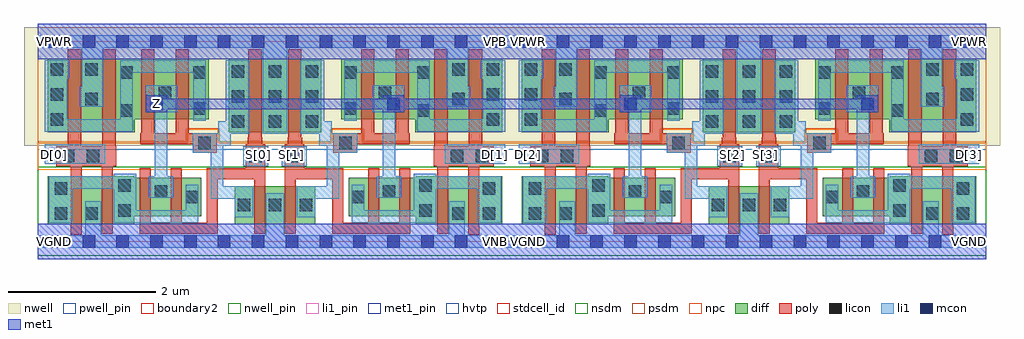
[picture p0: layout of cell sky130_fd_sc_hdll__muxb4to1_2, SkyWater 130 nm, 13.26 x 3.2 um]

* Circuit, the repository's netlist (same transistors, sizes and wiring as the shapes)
* Copyright 2020 The SkyWater PDK Authors
*
* Licensed under the Apache License, Version 2.0 (the "License");
* you may not use this file except in compliance with the License.
* You may obtain a copy of the License at
*
*     https://www.apache.org/licenses/LICENSE-2.0
*
* Unless required by applicable law or agreed to in writing, software
* distributed under the License is distributed on an "AS IS" BASIS,
* WITHOUT WARRANTIES OR CONDITIONS OF ANY KIND, either express or implied.
* See the License for the specific language governing permissions and
* limitations under the License.
*
* SPDX-License-Identifier: Apache-2.0

.SUBCKT sky130_fd_sc_hdll__muxb4to1_2 D[3] D[2] D[1] D[0] S[3] S[2] S[1] S[0] VGND VNB VPB VPWR Z
*.PININFO D[3]:I D[2]:I D[1]:I D[0]:I S[3]:I S[2]:I S[1]:I S[0]:I
*.PININFO VGND:I VNB:I VPB:I VPWR:I Z:O
MMNA00 Z S[0] net87 VNB sky130_fd_pr__nfet_01v8 m=2 w=0.52U l=0.15U mult=1 sa=0.265
+ sb=0.265 sd=0.28 area=0.063 perim=1.14
MMNA01 net87 D[0] VGND VNB sky130_fd_pr__nfet_01v8 m=2 w=0.65U l=0.15U mult=1 sa=0.265
+ sb=0.265 sd=0.28 area=0.063 perim=1.14
MMIN1 SB0 S[0] VGND VNB sky130_fd_pr__nfet_01v8 m=1 w=0.52U l=0.15U mult=1 sa=0.265
+ sb=0.265 sd=0.28 area=0.063 perim=1.14
MI30 Z S[2] net51 VNB sky130_fd_pr__nfet_01v8 m=2 w=0.52U l=0.15U mult=1 sa=0.265
+ sb=0.265 sd=0.28 area=0.063 perim=1.14
MI29 net51 D[2] VGND VNB sky130_fd_pr__nfet_01v8 m=2 w=0.65U l=0.15U mult=1 sa=0.265
+ sb=0.265 sd=0.28 area=0.063 perim=1.14
MI28 SB2 S[2] VGND VNB sky130_fd_pr__nfet_01v8 m=1 w=0.52U l=0.15U mult=1 sa=0.265
+ sb=0.265 sd=0.28 area=0.063 perim=1.14
MI27 SB3 S[3] VGND VNB sky130_fd_pr__nfet_01v8 m=1 w=0.52U l=0.15U mult=1 sa=0.265
+ sb=0.265 sd=0.28 area=0.063 perim=1.14
MI26 net63 D[3] VGND VNB sky130_fd_pr__nfet_01v8 m=2 w=0.65U l=0.15U mult=1 sa=0.265
+ sb=0.265 sd=0.28 area=0.063 perim=1.14
MI25 Z S[3] net63 VNB sky130_fd_pr__nfet_01v8 m=2 w=0.52U l=0.15U mult=1 sa=0.265
+ sb=0.265 sd=0.28 area=0.063 perim=1.14
MI13 Z S[1] net75 VNB sky130_fd_pr__nfet_01v8 m=2 w=0.52U l=0.15U mult=1 sa=0.265
+ sb=0.265 sd=0.28 area=0.063 perim=1.14
MI12 net75 D[1] VGND VNB sky130_fd_pr__nfet_01v8 m=2 w=0.65U l=0.15U mult=1 sa=0.265
+ sb=0.265 sd=0.28 area=0.063 perim=1.14
MI11 SB1 S[1] VGND VNB sky130_fd_pr__nfet_01v8 m=1 w=0.52U l=0.15U mult=1 sa=0.265
+ sb=0.265 sd=0.28 area=0.063 perim=1.14
MI35 net99 SB2 Z VPB sky130_fd_pr__pfet_01v8_hvt m=2 w=0.82U l=0.18U mult=1 sa=0.265
+ sb=0.265 sd=0.28 area=0.063 perim=1.14
MI34 SB2 S[2] VPWR VPB sky130_fd_pr__pfet_01v8_hvt m=1 w=1.0U l=0.18U mult=1 sa=0.265
+ sb=0.265 sd=0.28 area=0.063 perim=1.14
MMPA00 VPWR D[0] net135 VPB sky130_fd_pr__pfet_01v8_hvt m=2 w=1.0U l=0.18U mult=1
+ sa=0.265 sb=0.265 sd=0.28 area=0.063 perim=1.14
MMPA01 net135 SB0 Z VPB sky130_fd_pr__pfet_01v8_hvt m=2 w=0.82U l=0.18U mult=1
+ sa=0.265 sb=0.265 sd=0.28 area=0.063 perim=1.14
MI33 SB3 S[3] VPWR VPB sky130_fd_pr__pfet_01v8_hvt m=1 w=1.0U l=0.18U mult=1 sa=0.265
+ sb=0.265 sd=0.28 area=0.063 perim=1.14
MI32 net111 SB3 Z VPB sky130_fd_pr__pfet_01v8_hvt m=2 w=0.82U l=0.18U mult=1 sa=0.265
+ sb=0.265 sd=0.28 area=0.063 perim=1.14
MI31 VPWR D[3] net111 VPB sky130_fd_pr__pfet_01v8_hvt m=2 w=1.0U l=0.18U mult=1
+ sa=0.265 sb=0.265 sd=0.28 area=0.063 perim=1.14
MMIP1 SB0 S[0] VPWR VPB sky130_fd_pr__pfet_01v8_hvt m=1 w=1.0U l=0.18U mult=1 sa=0.265
+ sb=0.265 sd=0.28 area=0.063 perim=1.14
MI15 net123 SB1 Z VPB sky130_fd_pr__pfet_01v8_hvt m=2 w=0.82U l=0.18U mult=1 sa=0.265
+ sb=0.265 sd=0.28 area=0.063 perim=1.14
MI16 VPWR D[1] net123 VPB sky130_fd_pr__pfet_01v8_hvt m=2 w=1.0U l=0.18U mult=1
+ sa=0.265 sb=0.265 sd=0.28 area=0.063 perim=1.14
MI14 SB1 S[1] VPWR VPB sky130_fd_pr__pfet_01v8_hvt m=1 w=1.0U l=0.18U mult=1 sa=0.265
+ sb=0.265 sd=0.28 area=0.063 perim=1.14
MI36 VPWR D[2] net99 VPB sky130_fd_pr__pfet_01v8_hvt m=2 w=1.0U l=0.18U mult=1
+ sa=0.265 sb=0.265 sd=0.28 area=0.063 perim=1.14
.ENDS sky130_fd_sc_hdll__muxb4to1_2

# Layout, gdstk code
import gdstk
lib = gdstk.Library(unit=1e-6, precision=1e-09)
def R(c, l, rs):  # rectangles x0, y0, x1, y1
    for r in rs: c.add(gdstk.rectangle(r[:2], r[2:], *l))
def A(c, l, x, y, w, h, nx, ny, dx, dy):  # array of equal rectangles
    R(c, l, [(x+i*dx, y+j*dy, x+i*dx+w, y+j*dy+h) for i in range(nx) for j in range(ny)])
def P(c, l, *ps):  # polygons
    for p in ps: c.add(gdstk.Polygon(p, *l))
nwell_pin = (64, 16)
nwell = (64, 20)
diff = (65, 20)
poly = (66, 20)
licon = (66, 44)
li1_pin = (67, 16)
li1 = (67, 20)
mcon = (67, 44)
met1_pin = (68, 16)
met1 = (68, 20)
hvtp = (78, 44)
stdcell_id = (81, 4)
nsdm = (93, 44)
psdm = (94, 20)
npc = (95, 20)
pwell_pin = (122, 16)
boundary2 = (236, 0)

sky130_fd_sc_hdll__muxb4 = lib.new_cell('sky130_fd_sc_hdll__muxb4to1_2')
R(sky130_fd_sc_hdll__muxb4, nwell_pin, [(0.145,2.635,0.315,2.805), (0.145,2.635,0.315,2.805), (6.125,2.635,6.295,2.805), (6.585,2.635,6.755,2.805), (12.565,2.635,12.735,2.805)])
R(sky130_fd_sc_hdll__muxb4, nwell, [(-0.19,1.305,3.87,2.91), (2.57,1.305,6.63,2.91), (6.25,1.305,10.31,2.91), (9.01,1.305,13.07,2.91)])
R(sky130_fd_sc_hdll__muxb4, diff, [(2.675,0.235,3.345,0.755), (3.095,0.235,3.765,0.755), (9.115,0.235,9.785,0.755), (9.535,0.235,10.205,0.755), (2.59,1.485,3.345,2.485), (3.095,1.485,3.85,2.485), (9.03,1.485,9.785,2.485), (9.535,1.485,10.29,2.485)])
P(sky130_fd_sc_hdll__muxb4, diff, [(8.76,2.485),(6.575,2.485),(6.575,1.485),(7.755,1.485),(7.755,1.665),(8.76,1.665)],
  [(8.655,0.865),(7.75,0.865),(7.75,0.885),(6.575,0.885),(6.575,0.235),(7.75,0.235),(7.75,0.345),(8.655,0.345)],
  [(10.665,0.865),(11.57,0.865),(11.57,0.885),(12.745,0.885),(12.745,0.235),(11.57,0.235),(11.57,0.345),(10.665,0.345)],
  [(10.56,2.485),(12.745,2.485),(12.745,1.485),(11.565,1.485),(11.565,1.665),(10.56,1.665)],
  [(4.12,2.485),(6.305,2.485),(6.305,1.485),(5.125,1.485),(5.125,1.665),(4.12,1.665)],
  [(4.225,0.865),(5.13,0.865),(5.13,0.885),(6.305,0.885),(6.305,0.235),(5.13,0.235),(5.13,0.345),(4.225,0.345)],
  [(2.32,2.485),(0.135,2.485),(0.135,1.485),(1.315,1.485),(1.315,1.665),(2.32,1.665)],
  [(2.215,0.865),(1.31,0.865),(1.31,0.885),(0.135,0.885),(0.135,0.235),(1.31,0.235),(1.31,0.345),(2.215,0.345)])
R(sky130_fd_sc_hdll__muxb4, poly, [(1.385,0.105,1.535,0.995), (1.41,0.105,2.415,0.255), (1.805,0.105,1.955,0.995), (2.29,0.105,2.44,0.995), (2.935,0.105,3.085,0.995), (3.355,0.105,3.505,0.995), (4,0.105,4.15,0.995), (4.025,0.105,5.03,0.255), (4.485,0.105,4.635,0.995), (4.905,0.105,5.055,0.995), (7.825,0.105,7.975,0.995), (7.85,0.105,8.855,0.255), (8.245,0.105,8.395,0.995), (8.73,0.105,8.88,0.995), (9.375,0.105,9.525,0.995), (9.795,0.105,9.945,0.995), (10.44,0.105,10.59,0.995), (10.465,0.105,11.47,0.255), (10.925,0.105,11.075,0.995), (11.345,0.105,11.495,0.995), (2.425,0.845,2.96,0.995), (3.48,0.845,4.015,0.995), (8.865,0.845,9.4,0.995), (9.92,0.845,10.455,0.995), (2.82,0.995,3.09,1.325), (3.35,0.995,3.62,1.325), (9.26,0.995,9.53,1.325), (9.79,0.995,10.06,1.325), (2.1,1.205,2.43,1.475), (4.01,1.205,4.34,1.475), (8.54,1.205,8.87,1.475), (10.45,1.205,10.78,1.475), (1.39,1.325,2.2,1.475), (4.24,1.325,5.05,1.475), (7.83,1.325,8.64,1.475), (10.68,1.325,11.49,1.475)])
P(sky130_fd_sc_hdll__muxb4, poly, [(11.49,1.41),(11.48,1.41),(11.48,2.615),(11.3,2.615),(11.3,1.41),(11.29,1.41),(11.29,1.325),(11.49,1.325)],
  [(11.02,1.41),(11.01,1.41),(11.01,2.615),(10.83,2.615),(10.83,1.41),(10.82,1.41),(10.82,1.325),(11.02,1.325)],
  [(11.815,1.295),(11.825,1.295),(11.825,2.615),(12.005,2.615),(12.005,1.295),(12.295,1.295),(12.295,2.615),(12.475,2.615),(12.475,1.295),(12.635,1.295),(12.635,1.025),(12.435,1.025),(12.435,0.095),(12.285,0.095),(12.285,1.025),(12.015,1.025),(12.015,0.105),(11.865,0.105),(11.865,1.025),(11.815,1.025)],
  [(9.83,1.41),(9.84,1.41),(9.84,2.615),(10.02,2.615),(10.02,1.41),(10.03,1.41),(10.03,1.195),(9.83,1.195)],
  [(7.83,1.41),(7.84,1.41),(7.84,2.615),(8.02,2.615),(8.02,1.41),(8.03,1.41),(8.03,1.325),(7.83,1.325)],
  [(8.3,1.41),(8.31,1.41),(8.31,2.615),(8.49,2.615),(8.49,1.41),(8.5,1.41),(8.5,1.325),(8.3,1.325)],
  [(7.505,1.295),(7.495,1.295),(7.495,2.615),(7.315,2.615),(7.315,1.295),(7.025,1.295),(7.025,2.615),(6.845,2.615),(6.845,1.295),(6.685,1.295),(6.685,1.025),(6.885,1.025),(6.885,0.095),(7.035,0.095),(7.035,1.025),(7.305,1.025),(7.305,0.105),(7.455,0.105),(7.455,1.025),(7.505,1.025)],
  [(9.49,1.41),(9.48,1.41),(9.48,2.615),(9.3,2.615),(9.3,1.41),(9.29,1.41),(9.29,1.195),(9.49,1.195)],
  [(5.05,1.41),(5.04,1.41),(5.04,2.615),(4.86,2.615),(4.86,1.41),(4.85,1.41),(4.85,1.325),(5.05,1.325)],
  [(4.58,1.41),(4.57,1.41),(4.57,2.615),(4.39,2.615),(4.39,1.41),(4.38,1.41),(4.38,1.325),(4.58,1.325)],
  [(5.375,1.295),(5.385,1.295),(5.385,2.615),(5.565,2.615),(5.565,1.295),(5.855,1.295),(5.855,2.615),(6.035,2.615),(6.035,1.295),(6.195,1.295),(6.195,1.025),(5.995,1.025),(5.995,0.095),(5.845,0.095),(5.845,1.025),(5.575,1.025),(5.575,0.105),(5.425,0.105),(5.425,1.025),(5.375,1.025)],
  [(3.39,1.41),(3.4,1.41),(3.4,2.615),(3.58,2.615),(3.58,1.41),(3.59,1.41),(3.59,1.195),(3.39,1.195)],
  [(1.39,1.41),(1.4,1.41),(1.4,2.615),(1.58,2.615),(1.58,1.41),(1.59,1.41),(1.59,1.325),(1.39,1.325)],
  [(1.86,1.41),(1.87,1.41),(1.87,2.615),(2.05,2.615),(2.05,1.41),(2.06,1.41),(2.06,1.325),(1.86,1.325)],
  [(1.065,1.295),(1.055,1.295),(1.055,2.615),(0.875,2.615),(0.875,1.295),(0.585,1.295),(0.585,2.615),(0.405,2.615),(0.405,1.295),(0.245,1.295),(0.245,1.025),(0.445,1.025),(0.445,0.095),(0.595,0.095),(0.595,1.025),(0.865,1.025),(0.865,0.105),(1.015,0.105),(1.015,1.025),(1.065,1.025)],
  [(3.05,1.41),(3.04,1.41),(3.04,2.615),(2.86,2.615),(2.86,1.41),(2.85,1.41),(2.85,1.195),(3.05,1.195)])
A(sky130_fd_sc_hdll__muxb4, licon, 2.63, 1.545, 0.17, 0.17, 1, 3, 0, 0.34)
A(sky130_fd_sc_hdll__muxb4, licon, 3.64, 1.545, 0.17, 0.17, 1, 3, 0, 0.34)
A(sky130_fd_sc_hdll__muxb4, licon, 9.07, 1.545, 0.17, 0.17, 1, 3, 0, 0.34)
A(sky130_fd_sc_hdll__muxb4, licon, 10.08, 1.545, 0.17, 0.17, 1, 3, 0, 0.34)
A(sky130_fd_sc_hdll__muxb4, licon, 0.175, 1.575, 0.17, 0.17, 1, 3, 0, 0.34)
A(sky130_fd_sc_hdll__muxb4, licon, 6.095, 1.575, 0.17, 0.17, 1, 3, 0, 0.34)
A(sky130_fd_sc_hdll__muxb4, licon, 6.615, 1.575, 0.17, 0.17, 1, 3, 0, 0.34)
A(sky130_fd_sc_hdll__muxb4, licon, 12.535, 1.575, 0.17, 0.17, 1, 3, 0, 0.34)
R(sky130_fd_sc_hdll__muxb4, licon, [(0.225,0.295,0.395,0.465), (0.645,0.295,0.815,0.465), (5.625,0.295,5.795,0.465), (6.045,0.295,6.215,0.465), (6.665,0.295,6.835,0.465), (7.085,0.295,7.255,0.465), (12.065,0.295,12.235,0.465), (12.485,0.295,12.655,0.465), (1.09,0.335,1.26,0.505), (5.18,0.335,5.35,0.505), (7.53,0.335,7.7,0.505), (11.62,0.335,11.79,0.505), (2.715,0.41,2.885,0.58), (3.135,0.41,3.305,0.58), (3.135,0.41,3.305,0.58), (3.555,0.41,3.725,0.58), (9.155,0.41,9.325,0.58), (9.575,0.41,9.745,0.58), (9.575,0.41,9.745,0.58), (9.995,0.41,10.165,0.58), (2.005,0.52,2.175,0.69), (4.265,0.52,4.435,0.69), (8.445,0.52,8.615,0.69), (10.705,0.52,10.875,0.69), (1.585,0.595,1.755,0.765), (4.685,0.595,4.855,0.765), (8.025,0.595,8.195,0.765), (11.125,0.595,11.295,0.765), (0.225,0.635,0.395,0.805), (6.045,0.635,6.215,0.805), (6.665,0.635,6.835,0.805), (12.485,0.635,12.655,0.805), (1.09,0.675,1.26,0.845), (5.18,0.675,5.35,0.845), (7.53,0.675,7.7,0.845), (11.62,0.675,11.79,0.845), (0.325,1.075,0.495,1.245), (0.665,1.075,0.835,1.245), (2.87,1.075,3.04,1.245), (3.4,1.075,3.57,1.245), (5.605,1.075,5.775,1.245), (5.945,1.075,6.115,1.245), (6.765,1.075,6.935,1.245), (7.105,1.075,7.275,1.245), (9.31,1.075,9.48,1.245), (9.84,1.075,10.01,1.245), (12.045,1.075,12.215,1.245), (12.385,1.075,12.555,1.245), (2.18,1.255,2.35,1.425), (4.09,1.255,4.26,1.425), (8.62,1.255,8.79,1.425), (10.53,1.255,10.7,1.425), (3.135,1.545,3.305,1.715), (3.135,1.545,3.305,1.715), (9.575,1.545,9.745,1.715), (9.575,1.545,9.745,1.715), (1.115,1.695,1.285,1.865), (5.155,1.695,5.325,1.865), (7.555,1.695,7.725,1.865), (11.595,1.695,11.765,1.865), (2.11,1.725,2.28,1.895), (4.16,1.725,4.33,1.895), (8.55,1.725,8.72,1.895), (10.6,1.725,10.77,1.895), (0.645,1.855,0.815,2.025), (5.625,1.855,5.795,2.025), (7.085,1.855,7.255,2.025), (12.065,1.855,12.235,2.025), (3.135,1.885,3.305,2.055), (3.135,1.885,3.305,2.055), (9.575,1.885,9.745,2.055), (9.575,1.885,9.745,2.055), (1.64,1.935,1.81,2.105), (4.63,1.935,4.8,2.105), (8.08,1.935,8.25,2.105), (11.07,1.935,11.24,2.105), (1.115,2.215,1.285,2.385), (2.11,2.215,2.28,2.385), (4.16,2.215,4.33,2.385), (5.155,2.215,5.325,2.385), (7.555,2.215,7.725,2.385), (8.55,2.215,8.72,2.385), (10.6,2.215,10.77,2.385), (11.595,2.215,11.765,2.385), (3.135,2.225,3.305,2.395), (3.135,2.225,3.305,2.395), (9.575,2.225,9.745,2.395), (9.575,2.225,9.745,2.395), (0.645,2.255,0.815,2.425), (5.625,2.255,5.795,2.425), (7.085,2.255,7.255,2.425), (12.065,2.255,12.235,2.425)])
R(sky130_fd_sc_hdll__muxb4, li1_pin, [(0.145,1.105,0.315,1.275), (0.145,1.105,0.315,1.275), (2.905,1.105,3.075,1.275), (2.905,1.105,3.075,1.275), (3.365,1.105,3.535,1.275), (3.365,1.105,3.535,1.275), (6.125,1.105,6.295,1.275), (6.125,1.105,6.295,1.275), (6.585,1.105,6.755,1.275), (6.585,1.105,6.755,1.28), (9.345,1.105,9.515,1.275), (9.345,1.105,9.515,1.275), (9.805,1.105,9.975,1.275), (9.805,1.105,9.975,1.275), (12.565,1.105,12.735,1.275), (12.565,1.105,12.735,1.275)])
R(sky130_fd_sc_hdll__muxb4, li1, [(0,-0.085,3.68,0.085), (2.76,-0.085,6.44,0.085), (6.44,-0.085,10.12,0.085), (9.2,-0.085,12.88,0.085), (0.645,0.085,0.86,0.545), (3.095,0.085,3.345,0.66), (3.095,0.085,3.345,0.66), (5.58,0.085,5.795,0.545), (7.085,0.085,7.3,0.545), (9.535,0.085,9.785,0.66), (9.535,0.085,9.785,0.66), (12.02,0.085,12.235,0.545), (2.675,0.33,2.925,0.755), (3.515,0.33,3.765,0.755), (9.115,0.33,9.365,0.755), (9.955,0.33,10.205,0.755), (1.505,0.595,1.835,0.885), (4.605,0.595,4.935,0.885), (7.945,0.595,8.275,0.885), (11.045,0.595,11.375,0.885), (1.585,0.885,1.755,1.985), (4.685,0.885,4.855,1.985), (8.025,0.885,8.195,1.985), (11.125,0.885,11.295,1.985), (2.79,1.025,3.125,1.295), (3.315,1.025,3.65,1.295), (9.23,1.025,9.565,1.295), (9.755,1.025,10.09,1.295), (0.095,1.055,0.915,1.325), (5.525,1.055,6.345,1.325), (6.535,1.055,7.355,1.325), (11.965,1.055,12.785,1.325), (2.1,1.205,2.43,1.475), (4.01,1.205,4.34,1.475), (8.54,1.205,8.87,1.475), (10.45,1.205,10.78,1.475), (3.055,1.465,3.385,2.635), (3.055,1.465,3.385,2.635), (9.495,1.465,9.825,2.635), (9.495,1.465,9.825,2.635), (1.465,1.755,1.895,2.125), (4.545,1.755,4.975,2.125), (7.905,1.755,8.335,2.125), (10.985,1.755,11.415,2.125), (0,2.635,3.68,2.805), (2.76,2.635,6.44,2.805), (6.44,2.635,10.12,2.805), (9.2,2.635,12.88,2.805)])
P(sky130_fd_sc_hdll__muxb4, li1, [(10.6,2.465),(11.765,2.465),(11.765,1.665),(12.485,1.665),(12.485,2.21),(12.455,2.21),(12.455,2.465),(12.785,2.465),(12.785,1.495),(11.595,1.495),(11.595,2.295),(10.77,2.295),(10.77,1.645),(10.6,1.645)],
  [(10.705,0.77),(10.875,0.77),(10.875,0.425),(11.545,0.425),(11.545,0.925),(11.85,0.925),(11.85,0.885),(12.735,0.885),(12.735,0.255),(12.405,0.255),(12.405,0.715),(11.85,0.715),(11.85,0.255),(10.705,0.255)],
  [(10,2.465),(10.33,2.465),(10.33,1.635),(10.43,1.635),(10.43,1.475),(10.535,1.475),(10.535,0.585),(10.035,0.585),(10.035,0.755),(10.365,0.755),(10.365,1.305),(10.26,1.305),(10.26,1.465),(10,1.465)],
  [(7.335,2.635),(7.035,2.635),(7.035,2.105),(7.005,2.105),(7.005,1.835),(7.335,1.835)],
  [(8.72,2.465),(7.555,2.465),(7.555,1.665),(6.835,1.665),(6.835,2.21),(6.865,2.21),(6.865,2.465),(6.535,2.465),(6.535,1.495),(7.725,1.495),(7.725,2.295),(8.55,2.295),(8.55,1.645),(8.72,1.645)],
  [(8.615,0.77),(8.445,0.77),(8.445,0.425),(7.775,0.425),(7.775,0.925),(7.47,0.925),(7.47,0.885),(6.585,0.885),(6.585,0.255),(6.915,0.255),(6.915,0.715),(7.47,0.715),(7.47,0.255),(8.615,0.255)],
  [(9.32,2.465),(8.99,2.465),(8.99,1.635),(8.89,1.635),(8.89,1.475),(8.785,1.475),(8.785,0.585),(9.285,0.585),(9.285,0.755),(8.955,0.755),(8.955,1.305),(9.06,1.305),(9.06,1.465),(9.32,1.465)],
  [(11.985,2.635),(12.285,2.635),(12.285,2.105),(12.315,2.105),(12.315,1.835),(11.985,1.835)],
  [(5.545,2.635),(5.845,2.635),(5.845,2.105),(5.875,2.105),(5.875,1.835),(5.545,1.835)],
  [(4.16,2.465),(5.325,2.465),(5.325,1.665),(6.045,1.665),(6.045,2.21),(6.015,2.21),(6.015,2.465),(6.345,2.465),(6.345,1.495),(5.155,1.495),(5.155,2.295),(4.33,2.295),(4.33,1.645),(4.16,1.645)],
  [(4.265,0.77),(4.435,0.77),(4.435,0.425),(5.105,0.425),(5.105,0.925),(5.41,0.925),(5.41,0.885),(6.295,0.885),(6.295,0.255),(5.965,0.255),(5.965,0.715),(5.41,0.715),(5.41,0.255),(4.265,0.255)],
  [(3.56,2.465),(3.89,2.465),(3.89,1.635),(3.99,1.635),(3.99,1.475),(4.095,1.475),(4.095,0.585),(3.595,0.585),(3.595,0.755),(3.925,0.755),(3.925,1.305),(3.82,1.305),(3.82,1.465),(3.56,1.465)],
  [(0.895,2.635),(0.595,2.635),(0.595,2.105),(0.565,2.105),(0.565,1.835),(0.895,1.835)],
  [(2.28,2.465),(1.115,2.465),(1.115,1.665),(0.395,1.665),(0.395,2.21),(0.425,2.21),(0.425,2.465),(0.095,2.465),(0.095,1.495),(1.285,1.495),(1.285,2.295),(2.11,2.295),(2.11,1.645),(2.28,1.645)],
  [(2.175,0.77),(2.005,0.77),(2.005,0.425),(1.335,0.425),(1.335,0.925),(1.03,0.925),(1.03,0.885),(0.145,0.885),(0.145,0.255),(0.475,0.255),(0.475,0.715),(1.03,0.715),(1.03,0.255),(2.175,0.255)],
  [(2.88,2.465),(2.55,2.465),(2.55,1.635),(2.45,1.635),(2.45,1.475),(2.345,1.475),(2.345,0.585),(2.845,0.585),(2.845,0.755),(2.515,0.755),(2.515,1.305),(2.62,1.305),(2.62,1.465),(2.88,1.465)])
A(sky130_fd_sc_hdll__muxb4, mcon, 0.145, -0.085, 0.17, 0.17, 7, 2, 0.46, 2.72)
A(sky130_fd_sc_hdll__muxb4, mcon, 3.365, -0.085, 0.17, 0.17, 14, 2, 0.46, 2.72)
A(sky130_fd_sc_hdll__muxb4, mcon, 9.805, -0.085, 0.17, 0.17, 7, 2, 0.46, 2.72)
A(sky130_fd_sc_hdll__muxb4, mcon, 1.525, 1.785, 0.17, 0.17, 4, 1, 3.22, 0)
R(sky130_fd_sc_hdll__muxb4, mcon, [(2.905,-0.085,3.075,0.085), (3.365,-0.085,3.535,0.085), (9.345,-0.085,9.515,0.085), (9.805,-0.085,9.975,0.085), (2.905,2.635,3.075,2.805), (3.365,2.635,3.535,2.805), (9.345,2.635,9.515,2.805), (9.805,2.635,9.975,2.805)])
A(sky130_fd_sc_hdll__muxb4, met1_pin, 1.525, 1.785, 0.17, 0.17, 4, 1, 3.22, 0)
R(sky130_fd_sc_hdll__muxb4, met1_pin, [(0.145,-0.085,0.315,0.085), (0.145,-0.085,0.315,0.085), (6.125,-0.085,6.295,0.085), (6.585,-0.085,6.755,0.085), (12.565,-0.085,12.735,0.085), (1.525,1.785,1.695,1.955), (0.145,2.635,0.315,2.805), (0.145,2.635,0.315,2.805), (6.125,2.635,6.295,2.805), (6.585,2.635,6.755,2.805), (12.565,2.635,12.735,2.805)])
A(sky130_fd_sc_hdll__muxb4, met1, 1.465, 1.755, 0.29, 0.23, 4, 1, 3.22, 0)
R(sky130_fd_sc_hdll__muxb4, met1, [(0,-0.24,3.68,0.24), (2.76,-0.24,6.44,0.24), (6.44,-0.24,10.12,0.24), (9.2,-0.24,12.88,0.24), (1.465,1.8,11.415,1.94), (1.465,1.8,1.875,1.94), (4.565,1.8,4.975,1.94), (7.905,1.8,8.315,1.94), (11.005,1.8,11.415,1.94), (0,2.48,3.68,2.96), (2.76,2.48,6.44,2.96), (6.44,2.48,10.12,2.96), (9.2,2.48,12.88,2.96)])
R(sky130_fd_sc_hdll__muxb4, hvtp, [(0,1.25,3.68,2.72), (2.76,1.25,6.44,2.72), (6.44,1.25,10.12,2.72), (9.2,1.25,12.88,2.72)])
R(sky130_fd_sc_hdll__muxb4, stdcell_id, [(0,0,12.88,2.72)])
R(sky130_fd_sc_hdll__muxb4, nsdm, [(0,-0.19,3.68,1.015), (2.76,-0.19,6.44,1.015), (6.44,-0.19,10.12,1.015), (9.2,-0.19,12.88,1.015)])
P(sky130_fd_sc_hdll__muxb4, psdm, [(9.2,2.91),(12.88,2.91),(12.88,1.355),(10.865,1.355),(10.865,1.535),(10.42,1.535),(10.42,1.355),(9.2,1.355)],
  [(10.12,2.91),(6.44,2.91),(6.44,1.355),(8.455,1.355),(8.455,1.535),(8.9,1.535),(8.9,1.355),(10.12,1.355)],
  [(2.76,2.91),(6.44,2.91),(6.44,1.355),(4.425,1.355),(4.425,1.535),(3.98,1.535),(3.98,1.355),(2.76,1.355)],
  [(3.68,2.91),(0,2.91),(0,1.355),(2.015,1.355),(2.015,1.535),(2.46,1.535),(2.46,1.355),(3.68,1.355)])
P(sky130_fd_sc_hdll__muxb4, npc, [(3.68,1.345),(2.45,1.345),(2.45,1.525),(2.025,1.525),(2.025,1.345),(0,1.345),(0,0.975),(3.68,0.975)],
  [(2.76,1.345),(3.99,1.345),(3.99,1.525),(4.415,1.525),(4.415,1.345),(6.44,1.345),(6.44,0.975),(2.76,0.975)],
  [(10.12,1.345),(8.89,1.345),(8.89,1.525),(8.465,1.525),(8.465,1.345),(6.44,1.345),(6.44,0.975),(10.12,0.975)],
  [(9.2,1.345),(10.43,1.345),(10.43,1.525),(10.855,1.525),(10.855,1.345),(12.88,1.345),(12.88,0.975),(9.2,0.975)])
R(sky130_fd_sc_hdll__muxb4, pwell_pin, [(0.145,-0.085,0.315,0.085), (0.145,-0.085,0.315,0.085), (6.125,-0.085,6.295,0.085), (6.585,-0.085,6.755,0.085), (12.565,-0.085,12.735,0.085)])
R(sky130_fd_sc_hdll__muxb4, boundary2, [(0,0,12.88,2.72)])
sky130_fd_sc_hdll__muxb4.add(gdstk.Label('VGND', (0.23,0), layer=68, texttype=5))
sky130_fd_sc_hdll__muxb4.add(gdstk.Label('VPWR', (0.23,2.72), layer=68, texttype=5))
sky130_fd_sc_hdll__muxb4.add(gdstk.Label('Z', (1.61,1.87), layer=68, texttype=5))
sky130_fd_sc_hdll__muxb4.add(gdstk.Label('VGND', (6.67,0), layer=68, texttype=5))
sky130_fd_sc_hdll__muxb4.add(gdstk.Label('VPWR', (6.67,2.72), layer=68, texttype=5))
sky130_fd_sc_hdll__muxb4.add(gdstk.Label('VPWR', (12.65,2.72), layer=68, texttype=5))
sky130_fd_sc_hdll__muxb4.add(gdstk.Label('VGND', (12.65,0), layer=68, texttype=5))
sky130_fd_sc_hdll__muxb4.add(gdstk.Label('VGND', (6.21,0), layer=68, texttype=5))
sky130_fd_sc_hdll__muxb4.add(gdstk.Label('VPWR', (6.21,2.72), layer=68, texttype=5))
sky130_fd_sc_hdll__muxb4.add(gdstk.Label('VGND', (0.23,0), layer=68, texttype=5))
sky130_fd_sc_hdll__muxb4.add(gdstk.Label('VPWR', (0.23,2.72), layer=68, texttype=5))
sky130_fd_sc_hdll__muxb4.add(gdstk.Label('VNB', (0.23,0), layer=64, texttype=59))
sky130_fd_sc_hdll__muxb4.add(gdstk.Label('VNB', (6.67,0), layer=64, texttype=59))
sky130_fd_sc_hdll__muxb4.add(gdstk.Label('VNB', (12.65,0), layer=64, texttype=59))
sky130_fd_sc_hdll__muxb4.add(gdstk.Label('VNB', (6.21,0), layer=64, texttype=59))
sky130_fd_sc_hdll__muxb4.add(gdstk.Label('VNB', (0.23,0), layer=64, texttype=59))
sky130_fd_sc_hdll__muxb4.add(gdstk.Label('VPB', (0.23,2.72), layer=64, texttype=5))
sky130_fd_sc_hdll__muxb4.add(gdstk.Label('VPB', (6.67,2.72), layer=64, texttype=5))
sky130_fd_sc_hdll__muxb4.add(gdstk.Label('VPB', (12.65,2.72), layer=64, texttype=5))
sky130_fd_sc_hdll__muxb4.add(gdstk.Label('VPB', (6.21,2.72), layer=64, texttype=5))
sky130_fd_sc_hdll__muxb4.add(gdstk.Label('VPB', (0.23,2.72), layer=64, texttype=5))
sky130_fd_sc_hdll__muxb4.add(gdstk.Label('muxb4to1_2', (0,0), layer=83, texttype=44))
sky130_fd_sc_hdll__muxb4.add(gdstk.Label('S[1]', (3.45,1.19), layer=67, texttype=5))
sky130_fd_sc_hdll__muxb4.add(gdstk.Label('S[2]', (9.43,1.19), layer=67, texttype=5))
sky130_fd_sc_hdll__muxb4.add(gdstk.Label('S[3]', (9.89,1.19), layer=67, texttype=5))
sky130_fd_sc_hdll__muxb4.add(gdstk.Label('D[1]', (6.21,1.19), layer=67, texttype=5))
sky130_fd_sc_hdll__muxb4.add(gdstk.Label('D[0]', (0.23,1.19), layer=67, texttype=5))
sky130_fd_sc_hdll__muxb4.add(gdstk.Label('D[2]', (6.67,1.19), layer=67, texttype=5))
sky130_fd_sc_hdll__muxb4.add(gdstk.Label('D[3]', (12.65,1.19), layer=67, texttype=5))
sky130_fd_sc_hdll__muxb4.add(gdstk.Label('S[0]', (2.99,1.19), layer=67, texttype=5))

lib.write_gds('sky130_fd_sc_hdll__muxb4to1_2.gds')
